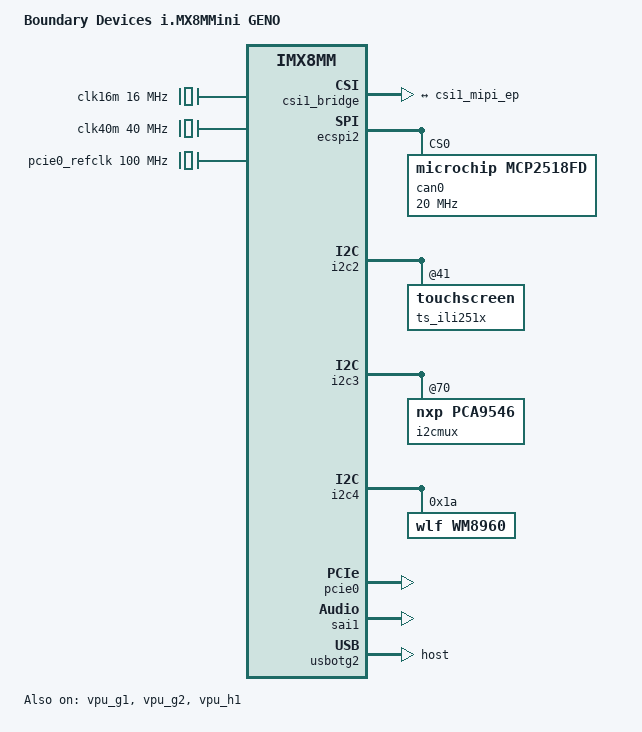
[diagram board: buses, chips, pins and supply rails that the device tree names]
// SPDX-License-Identifier: (GPL-2.0+ OR MIT)
/*
 * Copyright 2020 Boundary Devices
 */

/dts-v1/;
#define MX8MMN(a, b)	MX8MM_##a b
#define IMX8MMN(a)	IMX8MM_##a
#include "imx8mm.dtsi"
#include "imx8mmn-nitrogen8mm_rev2.dtsi"

&iomuxc {
	/delete-node/ mipi-er-tft050grp;
	/delete-node/ ecspi2grp;
	/delete-node/ ts-gt911grp;
	/delete-node/ ts-ft7250grp;
	/delete-node/ ts-gslx680grp;
	/delete-node/ ts-st1633grp;

	pinctrl_ecspi2: ecspi2grp {
		fsl,pins = <
			/* J15 */
#define GP_ECSPI2_MCP2518FD	<&gpio5 13 GPIO_ACTIVE_LOW>
			MX8MMN(IOMUXC_ECSPI2_SS0_GPIO5_IO13, 0x140)
			MX8MMN(IOMUXC_ECSPI2_MISO_ECSPI2_MISO, 0x19)
			MX8MMN(IOMUXC_ECSPI2_SCLK_ECSPI2_SCLK, 0x19)
			MX8MMN(IOMUXC_ECSPI2_MOSI_ECSPI2_MOSI, 0x19)
		>;
	};

	pinctrl_ecspi2_mcp2518fd: ecspi2-mcp2518fdgrp {
		fsl,pins = <
#define GPIRQ_MCP2518FD	<&gpio4 14 IRQ_TYPE_LEVEL_LOW>
			MX8MMN(IOMUXC_SAI1_TXD2_GPIO4_IO14, 0x1c0)
#define GP_MCP2518FD_RESET <&gpio4 1 GPIO_ACTIVE_LOW>
			MX8MMN(IOMUXC_SAI1_RXC_GPIO4_IO1, 0x100)
#define GPIRQ_CAN_ERR	<&gpio4 15 GPIO_ACTIVE_LOW>
			MX8MMN(IOMUXC_SAI1_TXD3_GPIO4_IO15, 0x1c0)
#define GP_CAN_EN	<&gpio3 19 GPIO_ACTIVE_HIGH>
			MX8MMN(IOMUXC_SAI5_RXFS_GPIO3_IO19, 0x100)
		>;
	};

	pinctrl_i2c3_pca9546: i2c3-pca9546grp {
		fsl,pins = <
#define GP_I2C3_PCA9546_RESET		<&gpio4 30 GPIO_ACTIVE_LOW>
			MX8MMN(IOMUXC_SAI3_RXD_GPIO4_IO30, 0x100)
		>;
	};

	pinctrl_pcie0: pcie0grp {
		fsl,pins = <
#define GP_PCIE0_RESET		<&gpio4 31 GPIO_ACTIVE_LOW>
			MX8MMN(IOMUXC_SAI3_TXFS_GPIO4_IO31, 0x100)
#define GP_PCIE0_DISABLE	<&gpio1 4 GPIO_ACTIVE_LOW>
			MX8MMN(IOMUXC_GPIO1_IO04_GPIO1_IO4, 0x100)
		>;
	};

	pinctrl_sai1: sai1grp {
		fsl,pins = <
			/* wm8960 */
			MX8MMN(IOMUXC_SAI1_MCLK_SAI1_MCLK, 0xd6)
			MX8MMN(IOMUXC_SAI1_TXFS_SAI1_TX_SYNC, 0xd6)
			MX8MMN(IOMUXC_SAI1_TXC_SAI1_TX_BCLK, 0xd6)
			MX8MMN(IOMUXC_SAI1_TXD0_SAI1_TX_DATA0, 0xd6)
			MX8MMN(IOMUXC_SAI1_RXD0_SAI1_RX_DATA0, 0xd6)
		>;
	};

	pinctrl_usbotg2: usbotg2grp {
		fsl,pins = <
			MX8MMN(IOMUXC_GPIO1_IO14_USB2_OTG_PWR, 0x16)
			MX8MMN(IOMUXC_GPIO1_IO15_USB2_OTG_OC, 0x156)
		>;
	};
};

/ {
	model = "Boundary Devices i.MX8MMini GENO";
	compatible = "boundary,imx8mm-geno", "fsl,imx8mm";

	/delete-node/ mipi-cmds-er-tft050;

	aliases {
		/delete-property/ mipi_cmds_er_tft050;
		/delete-property/ pca9540_2;
		/delete-property/ pinctrl_er_tft050;
		/delete-property/ ts_ft5x06_2;
		/delete-property/ ts_ft7250;
		/delete-property/ ts_goodix;
		/delete-property/ ts_goodix2;
		/delete-property/ ts_gsl1680;
		/delete-property/ ts_st1633i;
		mipi_cmds_x090dtlnc01 = &mipi_cmds_m101nwwb;
	};

	clocks {
		clk16m: clk16m {
			compatible = "fixed-clock";
			#clock-cells = <0>;
			clock-frequency = <16000000>;
		};

		clk40m: clk40m {
			compatible = "fixed-clock";
			#clock-cells = <0>;
			clock-frequency = <40000000>;
		};

		pcie0_refclk: pcie0-refclk {
			compatible = "fixed-clock";
			#clock-cells = <0>;
			clock-frequency = <100000000>;
		};
	};

	sound-wm8960 {
		compatible = "fsl,imx-audio-wm8960";
		model = "wm8960-audio";
		cpu-dai = <&sai1>;
		codec-master;
		audio-codec = <&wm8960>;
		audio-routing =
			"Headphone Jack", "HP_L",
			"Headphone Jack", "HP_R",
			"Ext Spk", "SPK_LP",
			"Ext Spk", "SPK_LN",
			"Ext Spk", "SPK_RP",
			"Ext Spk", "SPK_RN",
			"LINPUT1", "Main MIC",
			"Main MIC", "MICB",
			"RINPUT1", "Mic Jack",
			"Mic Jack", "MICB";
		/* JD2: hp detect high for headphone*/
		hp-det = <2 0>;
		hp-det-gpios = GP_WM8960_HP_DET;
#if 0		/* Jack is not stuffed */
		mic-det-gpios = GP_WM8960_MIC_DET;
#endif
		pinctrl-names = "default";
		pinctrl-0 = <&pinctrl_sound_wm8960>;
	};
};

&csi1_bridge {
	fsl,mipi-mode;
	status = "okay";

	port {
		csi1_ep: endpoint {
			remote-endpoint = <&csi1_mipi_ep>;
		};
	};
};

&ecspi2 {
	pinctrl-names = "default";
	pinctrl-0 = <&pinctrl_ecspi2>;
	fsl,spi-num-chipselects = <1>;
	cs-gpios = GP_ECSPI2_MCP2518FD;
	status = "okay";
	#address-cells = <1>;
	#size-cells = <0>;

	can0: can@0 {
		clocks = <&clk40m>;
		compatible = "microchip,mcp2518fd";
		err-gpios = GPIRQ_CAN_ERR;
		interrupts-extended = GPIRQ_MCP2518FD;
		pinctrl-names = "default";
		pinctrl-0 = <&pinctrl_ecspi2_mcp2518fd>;
		reg = <0>;
		reset-gpios = GP_MCP2518FD_RESET;
		spi-max-frequency = <20000000>;
		xceiver-gpios = GP_CAN_EN;
	};
};

&i2c2 {
	/delete-node/ touchscreen_ft7250@38;
	/delete-node/ touchscreen@40;
	/delete-node/ touchscreen@55;
	/delete-node/ touchscreen@5d;
	/delete-node/ i2cmux9540_2@70;

	ts_ili251x: touchscreen@41 {
		status = "okay";
	};

	pca9546: i2cmux9546@70 {
		i2c2@2 {
			/delete-node/ touchscreen@38;
		};
	};
};

&i2c3 {
	i2cmux@70 {
		compatible = "nxp,pca9546";
		pinctrl-names = "default";
		pinctrl-0 = <&pinctrl_i2c3_pca9546>;
		reset-gpios = GP_I2C3_PCA9546_RESET;

		i2c3c: i2c3@2 {
			reg = <1>;
			#address-cells = <1>;
			#size-cells = <0>;
		};

		i2c3d: i2c3@3 {
			reg = <1>;
			#address-cells = <1>;
			#size-cells = <0>;
		};
	};
};

&i2c4 {
	wm8960: codec@1a {
		compatible = "wlf,wm8960";
		reg = <0x1a>;
		clocks = <&clk IMX8MMN(CLK_SAI1_ROOT)>;
		clock-names = "mclk";
		wlf,shared-lrclk;
	};
};

&pcie0 {
	assigned-clocks = <&clk IMX8MM_CLK_PCIE1_AUX>,
			  <&clk IMX8MM_CLK_PCIE1_PHY>,
			  <&clk IMX8MM_CLK_PCIE1_CTRL>;
	assigned-clock-rates = <10000000>, <100000000>, <250000000>;
	assigned-clock-parents = <&clk IMX8MM_SYS_PLL2_50M>,
				 <&clk IMX8MM_SYS_PLL2_100M>,
				 <&clk IMX8MM_SYS_PLL2_250M>;
	clocks = <&clk IMX8MM_CLK_PCIE1_ROOT>,
		 <&clk IMX8MM_CLK_PCIE1_AUX>,
		 <&clk IMX8MM_CLK_PCIE1_PHY>,
		 <&pcie0_refclk>;
	clock-names = "pcie", "pcie_aux", "pcie_phy", "pcie_bus";
	disable-gpio = GP_PCIE0_DISABLE;
	ext_osc = <0>;
	l1ss-disabled;
	pinctrl-names = "default";
	pinctrl-0 = <&pinctrl_pcie0>;
	reset-gpio = GP_PCIE0_RESET;
	status = "okay";
};

&sai1 {
	assigned-clocks = <&clk IMX8MMN(AUDIO_PLL1)>, <&clk IMX8MMN(AUDIO_PLL2)>, <&clk IMX8MMN(CLK_SAI1)>;
	assigned-clock-parents = <0>, <0>, <&clk IMX8MMN(AUDIO_PLL1_OUT)>;
	assigned-clock-rates = <786432000>, <722534400>, <12288000>;
	pinctrl-names = "default";
	pinctrl-0 = <&pinctrl_sai1>;
	status = "okay";
};

&usbotg2 {
	dr_mode = "host";
	over-current-active-low;
	pinctrl-names = "default";
	pinctrl-0 = <&pinctrl_usbotg2>;
	power-active-high;
	status = "okay";
};

&vpu_g1 {
	status = "okay";
};

&vpu_g2 {
	status = "okay";
};

&vpu_h1 {
	status = "okay";
};
